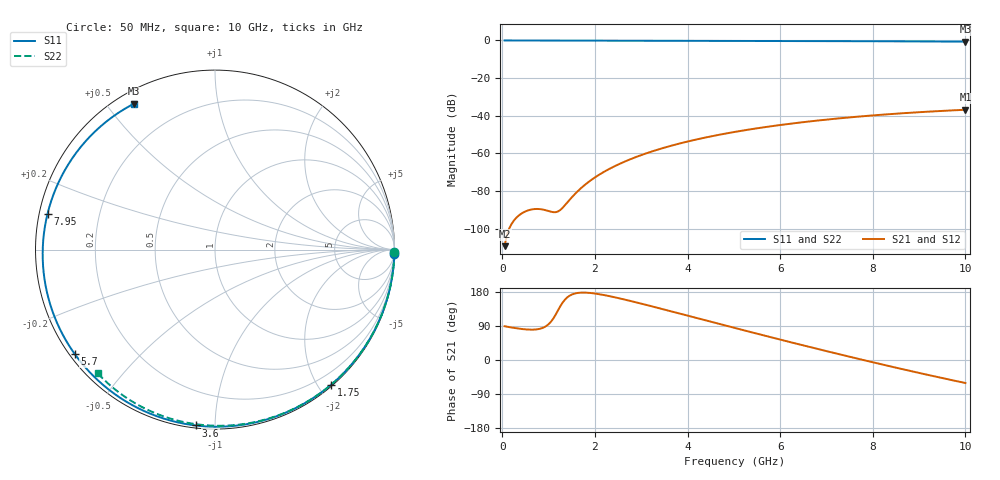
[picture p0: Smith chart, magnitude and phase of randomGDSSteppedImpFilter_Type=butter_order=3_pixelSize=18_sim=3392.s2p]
! freq	dB(S11)	phase(S11)	dB(S12)	phase(S12)
!  dB(S21)	phase(S21)	dB(S22)	phase(S22)
!S-par simulation data
#  GHz  S  DB  R 50
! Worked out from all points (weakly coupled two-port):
!   200 points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, 50 MHz to 10 GHz, reference 50 ohm
!   highest |S21| = -36.85 dB at 10 GHz (marker M1); lowest = -109.4 dB at 50 MHz (marker M2)
!   lowest |S11| = -0.6 dB at 10 GHz (marker M3), VSWR 27.53, Z = 2.45 + j29.4 ohm
!   |S11| at or under -10 dB: nowhere
!   |S22| runs from -0.4 to 0.0 dB; largest |S21 - S12| = 0
!   S11 on the Smith chart (normalised r, x): 50 MHz: 0, -79; 1.75 GHz: 0.02, -2.18; 3.6 GHz: 0.01, -0.90; 5.7 GHz: 0.01, -0.33; 7.95 GHz: 0.02, +0.11; 10 GHz: 0.05, +0.59
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0.05  -0.00 -1.5  -109.38 89.1  -109.38 89.1  -0.00 -0.8
0.4  -0.02 -11.5  -92.26 82.1  -92.26 82.1  -0.01 -6.2
0.8  -0.03 -22.9  -89.64 82.0  -89.64 82.0  -0.02 -12.3
1.2  -0.04 -34.2  -90.96 130.3  -90.96 130.3  -0.02 -18.4
1.6  -0.06 -45.2  -80.85 176.4  -80.85 176.4  -0.03 -24.4
1.65  -0.06 -46.6  -79.65 177.3  -79.65 177.3  -0.03 -25.1
1.75  -0.06 -49.3  -77.45 177.9  -77.45 177.9  -0.03 -26.6
2.05  -0.07 -57.3  -72.03 174.5  -72.03 174.5  -0.04 -31.1
2.45  -0.09 -67.8  -66.58 164.9  -66.58 164.9  -0.05 -37.0
2.9  -0.10 -79.2  -61.86 151.8  -61.86 151.8  -0.06 -43.5
3.4  -0.12 -91.5  -57.72 136.3  -57.72 136.3  -0.07 -50.7
3.6  -0.12 -96.3  -56.30 129.9  -56.30 129.9  -0.07 -53.5
4.3  -0.15 -112.6  -52.06 107.5  -52.06 107.5  -0.09 -63.2
5.05  -0.19 -129.3  -48.50 83.6  -48.50 83.6  -0.11 -73.3
5.7  -0.23 -143.4  -45.98 63.2  -45.98 63.2  -0.14 -81.8
6.2  -0.26 -154.1  -44.33 47.7  -44.33 47.7  -0.16 -88.2
6.7  -0.30 -164.8  -42.88 32.5  -42.88 32.5  -0.18 -94.5
7.35  -0.35 -178.8  -41.24 13.0  -41.24 13.0  -0.22 -102.4
7.95  -0.41 168.0  -39.96 -4.5  -39.96 -4.5  -0.26 -109.6
8.35  -0.45 158.9  -39.21 -16.0  -39.21 -16.0  -0.29 -114.4
9.15  -0.53 140.2  -37.93 -38.2  -37.93 -38.2  -0.36 -123.7
10  -0.63 119.0  -36.85 -60.7  -36.85 -60.7  -0.45 -133.5
